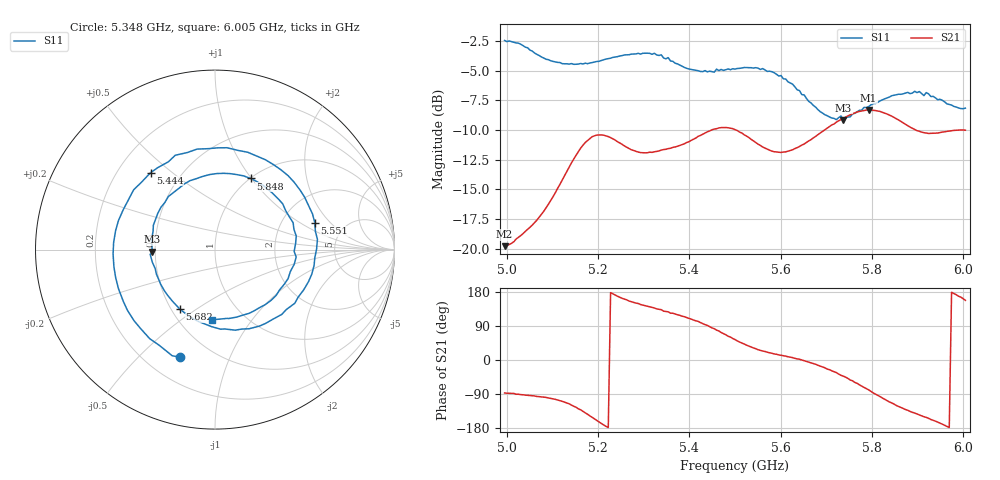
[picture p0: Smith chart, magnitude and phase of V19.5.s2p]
!File created by NanoVNA
# Hz S RI R 50
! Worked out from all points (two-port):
!   201 points, 4.995 GHz to 6.005 GHz, reference 50 ohm
!   highest |S21| = -8.31 dB at 5.793 GHz (marker M1); lowest = -19.8 dB at 4.995 GHz (marker M2)
!   |S21| within 3 dB of the highest: 5.378 GHz to 5.556 GHz (177.4 MHz wide, 3.24 % of centre); 5.645 GHz to end of sweep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
!   lowest |S11| = -9.1 dB at 5.737 GHz (marker M3), VSWR 2.07, Z = 24.1 - j0.68 ohm
!   |S11| at or under -10 dB: nowhere
!   S12 and S22 are empty: the file has one direction only
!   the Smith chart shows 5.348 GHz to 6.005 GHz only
!   S11 on the Smith chart (normalised r, x): 5.348 GHz: 0.34, -0.67; 5.444 GHz: 0.34, +0.42; 5.551 GHz: 3.05, +1.36; 5.682 GHz: 0.55, -0.43; 5.848 GHz: 1.01, +0.99; 6.005 GHz: 0.71, -0.66
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4.995e9  0.2131 -0.7224  0.00531 -0.1024  0 0  0 0
5.03035e9  -0.3053 -0.6586  -0.00266 -0.1136  0 0  0 0
5.0758e9  -0.6365 -0.0817  -0.0179 -0.1385  0 0  0 0
5.1263e9  -0.3418 0.4939  -0.0732 -0.1891  0 0  0 0
5.1667e9  0.1192 0.5875  -0.1946 -0.1912  0 0  0 0
5.2172e9  0.5573 0.2911  -0.2976 -0.0255  0 0  0 0
5.2576e9  0.6442 -0.1155  -0.2556 0.0899  0 0  0 0
5.33335e9  0.0112 -0.651  -0.1785 0.1866  0 0  0 0
5.3485e9  -0.1965 -0.5988  -0.1616 0.2065  0 0  0 0
5.399e9  -0.5631 -0.0959  -0.0958 0.2656  0 0  0 0
5.44445e9  -0.3588 0.4289  0.00995 0.3131  0 0  0 0
5.5e9  0.2278 0.5231  0.1866 0.2567  0 0  0 0
5.5505e9  0.556 0.1497  0.2453 0.1258  0 0  0 0
5.6212e9  0.282 -0.4112  0.257 0.0341  0 0  0 0
5.6717e9  -0.1301 -0.3796  0.289 -0.0468  0 0  0 0
5.6818e9  -0.1949 -0.3324  0.2934 -0.0726  0 0  0 0
5.73735e9  -0.3486 -0.0124  0.2605 -0.2394  0 0  0 0
5.7929e9  -0.1993 0.3428  0.0753 -0.3769  0 0  0 0
5.83835e9  0.1189 0.4183  -0.1286 -0.3422  0 0  0 0
5.84845e9  0.1984 0.3961  -0.1576 -0.3203  0 0  0 0
5.91915e9  0.4524 -0.0411  -0.2694 -0.1469  0 0  0 0
6.005e9  -0.0182 -0.3902  -0.2915 0.121  0 0  0 0
